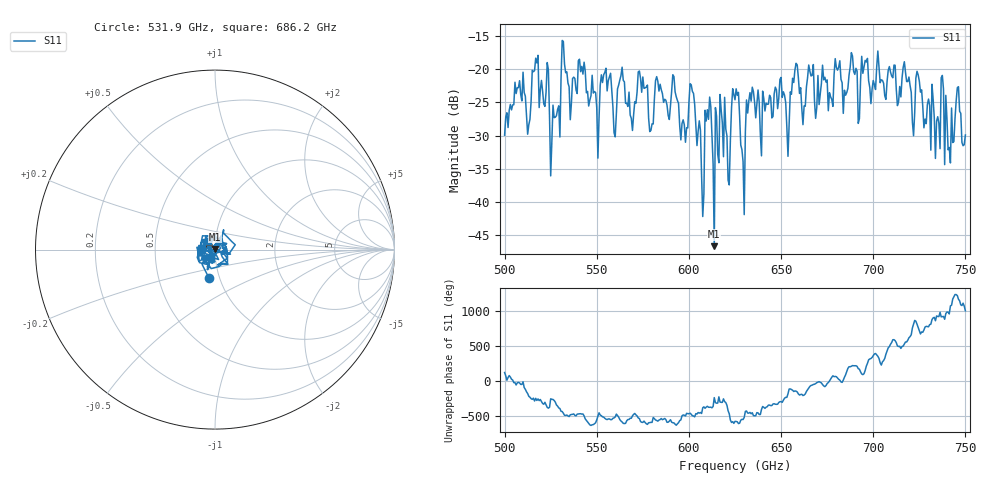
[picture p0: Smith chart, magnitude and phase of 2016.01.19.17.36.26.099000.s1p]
!Created with skrf (http://scikit-rf.org).
# GHz S RI R 50.0
!freq ReS11 ImS11
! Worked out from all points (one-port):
!   401 points, 500 GHz to 750 GHz, reference 50 ohm
!   lowest |S11| = -46.7 dB at 613.8 GHz (marker M1), VSWR 1.01, Z = 49.8 + j0.391 ohm
!   |S11| at or under -10 dB: start of sweep to end of sweep
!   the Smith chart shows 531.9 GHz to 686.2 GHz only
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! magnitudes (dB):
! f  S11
! 500 GHz  -29.9
! 506.9 GHz  -22.8
! 513.1 GHz  -28.4
! 516.9 GHz  -18.3
! 526.2 GHz  -25.4
! 531.2 GHz  -15.7
! 550 GHz  -25.8
! 556.2 GHz  -21.7
! 559.4 GHz  -29.5
! 562.5 GHz  -21.6
! 573.8 GHz  -21.4
! 579.4 GHz  -29.2
! 583.1 GHz  -21.8
! 593.8 GHz  -24.7
! 601.9 GHz  -23.3
! 606.9 GHz  -36.0
! 610.6 GHz  -27.5
! 613.8 GHz  -46.7
! 618.1 GHz  -28.1
! 621.2 GHz  -36.7
! 625 GHz  -24.6
! 629.4 GHz  -33.9
! 633.8 GHz  -24.8
! 653.1 GHz  -28.7
! 656.2 GHz  -21.4
! 687.5 GHz  -19.7
! 718.8 GHz  -21.8
! 750 GHz  -29.9
